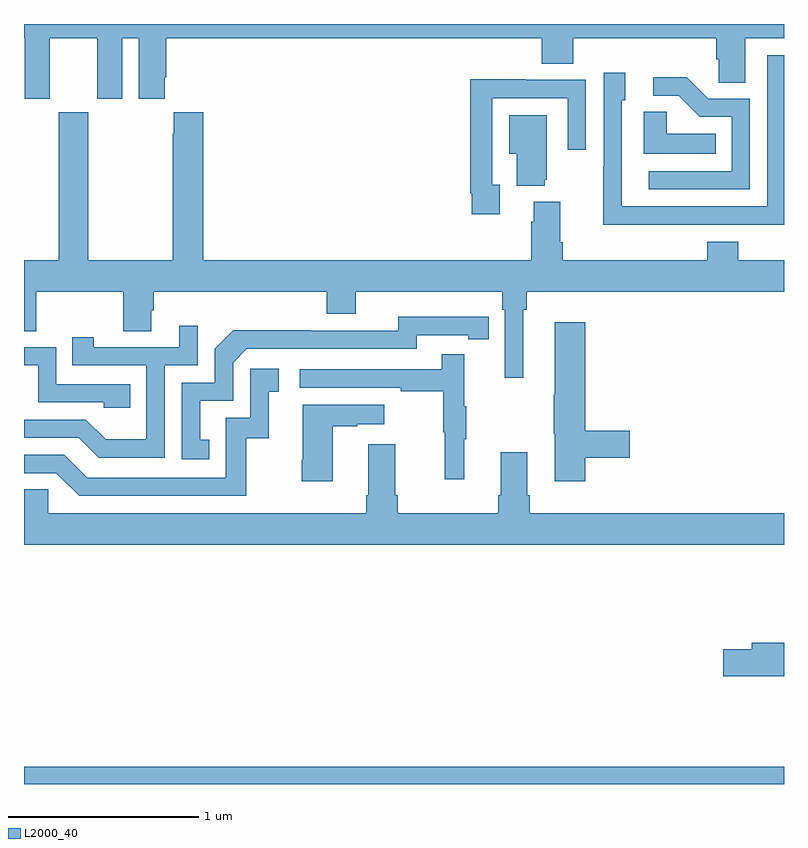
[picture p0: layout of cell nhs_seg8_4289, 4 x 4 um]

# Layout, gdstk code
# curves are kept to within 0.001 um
import gdstk
lib = gdstk.Library(unit=1e-6, precision=1e-09)
def R(c, l, rs):  # rectangles x0, y0, x1, y1
    for r in rs: c.add(gdstk.rectangle(r[:2], r[2:], *l))
def P(c, l, *ps):  # polygons
    for p in ps: c.add(gdstk.Polygon(p, *l))
L2000_40 = (2000, 40)

nhs_seg8_4289 = lib.new_cell('nhs_seg8_4289')
R(nhs_seg8_4289, L2000_40, [(373,1121.9,377,1121.992)])
P(nhs_seg8_4289, L2000_40, [(373.135,1125.824),(373.385,1125.824),(373.385,1125.507),(373.516,1125.507),(373.516,1125.824),(373.604,1125.824),(373.604,1125.507),(373.741,1125.507),(373.741,1125.619),(373.748,1125.619),(373.748,1125.824),(375.725,1125.824),(375.725,1125.691),(375.89,1125.691),(375.89,1125.824),(376.643,1125.824),(376.643,1125.715),(376.656,1125.715),(376.656,1125.592),(376.795,1125.592),(376.795,1125.824),(377,1125.824),(377,1125.9),(373,1125.9),(373,1125.824),(373.004,1125.824),(373.004,1125.507),(373.135,1125.507)],
  [(376.511,1124.844),(377,1124.844),(377,1125.735),(376.911,1125.735),(376.911,1124.94),(376.146,1124.94),(376.146,1125.498),(376.165,1125.498),(376.165,1125.643),(376.05,1125.643),(376.05,1125.149),(376.048,1125.149),(376.048,1124.843),(376.511,1124.843)],
  [(376.821,1125.507),(376.602,1125.507),(376.489,1125.62),(376.311,1125.62),(376.311,1125.522),(376.445,1125.522),(376.556,1125.411),(376.725,1125.411),(376.725,1125.126),(376.287,1125.126),(376.287,1125.03),(376.821,1125.03)],
  [(375.505,1125.054),(375.465,1125.054),(375.465,1125.51),(375.861,1125.51),(375.861,1125.237),(375.957,1125.237),(375.957,1125.606),(375.641,1125.606),(375.641,1125.608),(375.349,1125.608),(375.349,1125.01),(375.357,1125.01),(375.357,1124.898),(375.505,1124.898)],
  [(376.64,1125.322),(376.383,1125.322),(376.383,1125.437),(376.262,1125.437),(376.262,1125.218),(376.64,1125.218)],
  [(375.74,1125.081),(375.751,1125.081),(375.751,1125.421),(375.554,1125.421),(375.554,1125.218),(375.593,1125.218),(375.593,1125.05),(375.74,1125.05)],
  [(375.683,1124.965),(375.683,1124.858),(375.671,1124.858),(375.671,1124.656),(373.943,1124.656),(373.943,1125.436),(373.787,1125.436),(373.787,1125.323),(373.783,1125.323),(373.783,1124.656),(373.338,1124.656),(373.338,1125.436),(373.183,1125.436),(373.183,1124.656),(373,1124.656),(373,1124.284),(373.065,1124.284),(373.065,1124.492),(373.522,1124.492),(373.522,1124.284),(373.669,1124.284),(373.669,1124.394),(373.682,1124.394),(373.682,1124.492),(374.594,1124.492),(374.594,1124.375),(374.746,1124.375),(374.746,1124.492),(375.518,1124.492),(375.518,1124.396),(375.531,1124.396),(375.531,1124.037),(375.628,1124.037),(375.628,1124.396),(375.647,1124.396),(375.647,1124.492),(377,1124.492),(377,1124.656),(376.76,1124.656),(376.76,1124.755),(376.595,1124.755),(376.595,1124.656),(375.836,1124.656),(375.836,1124.752),(375.823,1124.752),(375.823,1124.965)],
  [(373.976,1123.713),(373.927,1123.713),(373.927,1123.917),(374.1,1123.917),(374.1,1124.118),(374.172,1124.19),(375.066,1124.19),(375.066,1124.262),(375.338,1124.262),(375.338,1124.242),(375.446,1124.242),(375.446,1124.358),(374.97,1124.359),(374.97,1124.286),(374.51,1124.286),(374.51,1124.288),(374.102,1124.288),(374.004,1124.19),(374.004,1124.013),(373.83,1124.013),(373.83,1123.608),(373.976,1123.608)],
  [(375.953,1123.618),(376.189,1123.618),(376.189,1123.76),(375.953,1123.76),(375.953,1124.329),(375.794,1124.329),(375.794,1123.949),(375.787,1123.949),(375.787,1123.743),(375.794,1123.743),(375.794,1123.494),(375.953,1123.494)],
  [(373.74,1124.103),(373.914,1124.103),(373.914,1124.311),(373.817,1124.311),(373.817,1124.199),(373.366,1124.199),(373.366,1124.251),(373.255,1124.251),(373.255,1124.103),(373.644,1124.103),(373.644,1123.714),(373.43,1123.714),(373.326,1123.818),(373,1123.818),(373,1123.722),(373.289,1123.722),(373.394,1123.617),(373.74,1123.617)],
  [(373.559,1124.004),(373.17,1124.004),(373.17,1124.199),(373,1124.199),(373,1124.103),(373.074,1124.103),(373.074,1123.908),(373.419,1123.908),(373.419,1123.881),(373.559,1123.881)],
  [(375.317,1123.715),(375.328,1123.715),(375.328,1123.889),(375.317,1123.889),(375.317,1124.161),(375.199,1124.161),(375.199,1124.082),(374.451,1124.082),(374.451,1123.986),(374.983,1123.986),(374.983,1123.966),(375.207,1123.966),(375.207,1123.752),(375.214,1123.752),(375.214,1123.503),(375.317,1123.503)],
  [(374.17,1123.719),(374.288,1123.719),(374.288,1123.965),(374.341,1123.965),(374.341,1124.086),(374.19,1124.086),(374.19,1123.827),(374.061,1123.827),(374.061,1123.512),(373.332,1123.512),(373.212,1123.632),(373,1123.632),(373,1123.536),(373.17,1123.536),(373.29,1123.416),(374.17,1123.416)],
  [(374.626,1123.783),(374.753,1123.783),(374.753,1123.793),(374.896,1123.793),(374.896,1123.897),(374.468,1123.897),(374.468,1123.606),(374.461,1123.606),(374.461,1123.494),(374.626,1123.494)],
  [(377,1123.324),(375.662,1123.324),(375.662,1123.42),(375.649,1123.42),(375.649,1123.645),(375.509,1123.645),(375.509,1123.42),(375.497,1123.42),(375.497,1123.324),(374.966,1123.324),(374.966,1123.42),(374.953,1123.42),(374.953,1123.687),(374.813,1123.687),(374.813,1123.42),(374.801,1123.42),(374.801,1123.324),(373.128,1123.324),(373.128,1123.451),(373,1123.451),(373,1123.16),(377,1123.16)],
  [(377,1122.644),(376.829,1122.644),(376.829,1122.608),(376.68,1122.608),(376.68,1122.466),(377,1122.466)])

lib.write_gds('nhs_seg8_4289.gds')
